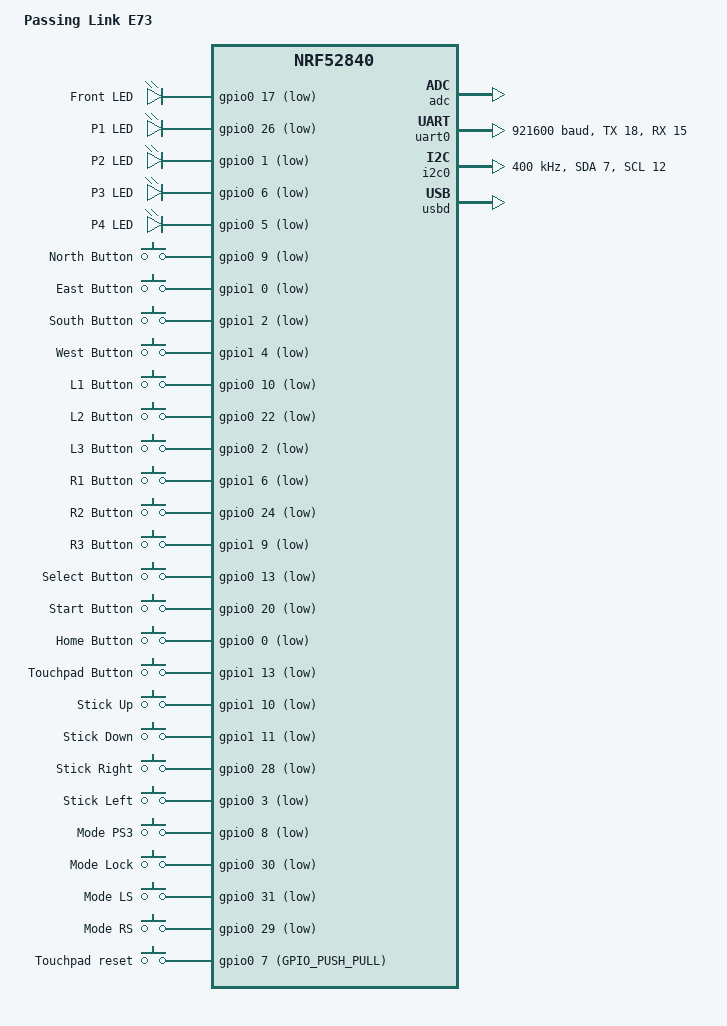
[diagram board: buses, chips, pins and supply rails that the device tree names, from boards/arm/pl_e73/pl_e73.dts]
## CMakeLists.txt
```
# SPDX-License-Identifier: Apache-2.0

get_filename_component(MBEDTLS_CONFIG_ABSOLUTE "mbedtls-config.h" ABSOLUTE)

cmake_minimum_required(VERSION 3.13.1)

set(BOARD_ROOT ${CMAKE_CURRENT_LIST_DIR})

include($ENV{ZEPHYR_BASE}/cmake/app/boilerplate.cmake NO_POLICY_SCOPE)
project(passinglink)

set(CMAKE_CXX_FLAGS "${CMAKE_CXX_FLAGS} -fdiagnostics-color -Wall -Wextra -Wno-unused -fstack-usage")

add_custom_command(
    OUTPUT ${CMAKE_CURRENT_BINARY_DIR}/version.cpp
           ${CMAKE_CURRENT_BINARY_DIR}/_version.cpp
    COMMAND ${CMAKE_COMMAND} -P
            ${CMAKE_CURRENT_SOURCE_DIR}/version.cmake
)

list(APPEND app_sources
    ${CMAKE_CURRENT_BINARY_DIR}/version.cpp

    src/arch.cpp
    src/bootloader.cpp
    src/main.cpp
    src/malloc.cpp
    src/provisioning.cpp
    src/shell.cpp
    src/bt/bt.cpp
    src/input/input.cpp
    src/input/profile.cpp
    src/input/queue.cpp
    src/input/socd.cpp
    src/metrics/metrics.cpp
    src/output/led.cpp
    src/output/output.cpp
    src/output/usb/hid.cpp
    src/output/usb/usb.cpp
    src/output/usb/nx/hid.cpp
    src/output/usb/ps3/hid.cpp
    src/output/usb/ps4/hid.cpp
    src/output/usb/ps4/auth.cpp
    src/opt/gundam.cpp
)

target_sources_ifdef(CONFIG_PASSINGLINK_INPUT_TOUCHPAD_NONE app PRIVATE
    src/input/touchpad/none.cpp
)

target_sources_ifdef(CONFIG_PASSINGLINK_INPUT_TOUCHPAD_PANTHERA app PRIVATE
    src/input/touchpad/panthera.cpp
)

target_sources_ifdef(CONFIG_PASSINGLINK_DISPLAY app PRIVATE
    src/display/display.cpp
    src/display/menu.cpp
)

target_sources_ifdef(CONFIG_PASSINGLINK_DISPLAY_SSD1306 app PRIVATE
    src/display/ssd1306.cpp
)

include_directories(
    src
    keys
)
target_sources(app PRIVATE ${app_sources})
set_property(TARGET app PROPERTY CXX_STANDARD 17)
```

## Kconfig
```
mainmenu "Configuration"

menu "PassingLink Configuration"

config PASSINGLINK_ALLOCATOR
  bool "Use passinglink's custom allocator"
  default y
  default n if NATIVE_APPLICATION
  help
    Use a custom allocator with precisely-sized buckets for PS4 authentication with mbedtls.

config PASSINGLINK_CHECK_MAIN_STACK_HWM
  bool "Check the main stack's high watermark"
  default y
  select INIT_STACKS
  help
    Calculate the main stack's high watermark.

config PASSINGLINK_PROFILING
  bool "Enable time profiling"
  default n
  help
    Profile some important functions.

choice PASSINGLINK_INPUT
  prompt "Input method"
  default PASSINGLINK_INPUT_GPIO

config PASSINGLINK_INPUT_NONE
  bool "None"
  help
    Disable input

config PASSINGLINK_INPUT_GPIO
  bool "GPIO pins"
  help
    Enable input from GPIO pins

config PASSINGLINK_INPUT_EXTERNAL
  bool "External (e.g. shell)"
  help
    Enable input from an external source (e.g. the shell)

endchoice

choice PASSINGLINK_INPUT_TOUCHPAD
  prompt "Trackpad"
  default PASSINGLINK_INPUT_TOUCHPAD_NONE

config PASSINGLINK_INPUT_TOUCHPAD_NONE
  bool "None"
  help
    Disable touchpad input.

config PASSINGLINK_INPUT_TOUCHPAD_PANTHERA
  bool "Razer Panthera"
  select I2C
  help
    Enable Razer Panthera touchpad input.

endchoice

config PASSINGLINK_INPUT_QUEUE
  bool "Input queue"
  default n
  help
    Enable input queue.

config PASSINGLINK_INPUT_SHELL
  bool "Enable input from shell"
  default n
  select SHELL
  select PASSINGLINK_INPUT_QUEUE
  help
    Enable input from UART shell.

menu "Output methods"

config PASSINGLINK_OUTPUT_USB_SWITCH
  bool "Enable Nintendo Switch emulation"
  default y
  help
    Output to Switch over USB

config PASSINGLINK_OUTPUT_USB_SWITCH_PROBE
  bool "Automatically detect Nintendo Switch"
  default y
  depends on PASSINGLINK_OUTPUT_USB_SWITCH
  help
    Automatically detect the Nintendo Switch.
    This adds ~1 second to startup time if we're not connected to a Switch.
    With this disabled, you can still select the Switch manually by holding Square.

config PASSINGLINK_OUTPUT_USB_PS3
  bool "Enable PS3 emulation"
  default y
  help
    Output to PS3 over USB

config PASSINGLINK_OUTPUT_USB_PS3_PROBE
  bool "Automatically detect PS3"
  default y
  depends on PASSINGLINK_OUTPUT_USB_PS3
  help
    Automatically detect the PS3.
    This adds ~1 second to startup time if we're not connected to a PS3.
    With this disabled, you can still select the PS3 manually by holding Triangle.

config PASSINGLINK_OUTPUT_USB_PS4
  bool "Enable PS4 emulation"
  default y
  help
    Output to PS4 over USB

config PASSINGLINK_OUTPUT_USB_PS4_AUTH
  bool "Enable PS4 authentication"
  default y
  help
    Enable PS4 authentication
  depends on MBEDTLS && PASSINGLINK_OUTPUT_USB_PS4

config PASSINGLINK_OUTPUT_USB_FORCE_PROBE_REBOOT
  bool "Force reboot for USB probe"
  default n
  help
    Reboot to probe USB even on boards that support USB deinitialization
  depends on PASSINGLINK_OUTPUT_USB_SWITCH_PROBE || PASINGLINK_OUTPUT_USB_PS3_PROBE

config PASSINGLINK_OUTPUT_USB_DEFERRED
  bool "Defer USB writes for better latency"
  default y

config PASSINGLINK_OUTPUT_USB_DEFERRED_WORK_QUEUE
  bool "Move deferred USB writes to their own work queue for better latency"
  default y
  depends on PASSINGLINK_OUTPUT_DEFERRED
  help
    Move USB HID handling to a separate maximum-priority work queue.

endmenu # Output methods

menu "Display"

config PASSINGLINK_LED
  bool "LED output"
  default y
  help
    Enable LED management

config PASSINGLINK_DISPLAY
  bool "Enable display output"
  default n
  help
    Enable display output

config PASSINGLINK_DISPLAY_SSD1306
  bool "Enable SSD1306 display output"
  default n
  help
    Enable I2C output to an SSD1306 OLED driver
  select I2C
  depends on PASSINGLINK_DISPLAY

endmenu

config PASSINGLINK_RUNTIME_PROVISIONING
  bool "Support provisioning of device keys over USB"
  default y
  depends on FLASH
  depends on FLASH_MAP

menu "Optional components"

config PASSINGLINK_BT
  bool "Bluetooth"
  default n
  select BT
  select BT_PERIPHERAL
  select BT_DEVICE_NAME_DYNAMIC
  help
    Bluetooth support.

config PASSINGLINK_BT_INPUT
  bool "External input over Bluetooth"
  depends on PASSINGLINK_INPUT_EXTERNAL

config PASSINGLINK_BT_AUTHENTICATION
  bool "Use Bluetooth authentication"
  default y
  select BT_SMP
  select BT_FIXED_PASSKEY
  depends on PASSINGLINK_BT

config PASSINGLINK_BT_PAIRING_KEY
  int "Bluetooth pairing key"
  default 123456
  depends on PASSINGLINK_BT_AUTHENTICATION
  help
    Bluetooth pairing key.

config PASSINGLINK_OPT_GUNDAM_CAMERA
  bool "Gundam EXVS spectator camera control"
  default n
  select PASSINGLINK_INPUT_QUEUE
  help
    Macros to control the spectator camera in Gundam.

endmenu # Optional components

endmenu # Passing Link Configuration

menu "Kernel configuration"

source "Kconfig.zephyr"

endmenu # Kernel configuration

# Don't emit logs twice.
config LOG_BACKEND_UART
  default n if SHELL

# Set USB logging to ERR by default.
config USB_DRIVER_LOG_LEVEL
  default 1 if LOG

config USB_DEVICE_LOG_LEVEL
  default 1 if LOG

# Turn on zero latency IRQs to reduce Bluetooth radio IRQ latency.
config ZERO_LATENCY_IRQS
  default y if PASSINGLINK_BT

config BT_CTLR_ZLI
  default y if PASSINGLINK_BT

# Prefer 7.5ms connection interval.
config BT_PERIPHERAL_PREF_MIN_INT
  default 6 if PASSINGLINK_BT

config BT_PERIPHERAL_PREF_MAX_INT
  default 6 if PASSINGLINK_BT
```

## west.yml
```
manifest:
  self:
    path: passinglink
  remotes:
    - name: zephyrproject-rtos
      url-base: https://github.com/zephyrproject-rtos
    - name: passinglink
      url-base: https://github.com/passinglink
  projects:
    - name: zephyr
      remote: passinglink
      revision: pl-v2.5-20210316
      import: true
    - name: mcuboot
      remote: passinglink
      revision: pl-v2.5-20210228
      path: bootloader/mcuboot
    - name: mbedtls
      remote: passinglink
      revision: pl-v2.5-20210226
      path: modules/crypto/mbedtls
    - name: mbed_embed
      remote: passinglink
      revision: pl-v2.5-20210427
      path: tools/mbed_embed
    - name: pcb
      remote: passinglink
      revision: master
      path: pcb
```

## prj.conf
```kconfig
CONFIG_CPLUSPLUS=y

CONFIG_ASSERT=y
CONFIG_SPEED_OPTIMIZATIONS=y
CONFIG_STACK_CANARIES=y

CONFIG_SYSTEM_WORKQUEUE_STACK_SIZE=1088

CONFIG_MAIN_STACK_SIZE=2304
CONFIG_MAIN_THREAD_WORK_QUEUE=y

# Needed for USB probing on STM32.
CONFIG_REBOOT=y

CONFIG_USB=y
CONFIG_USB_DEVICE_STACK=y

CONFIG_USB_DEVICE_VID=0x1209
CONFIG_USB_DEVICE_PID=0x214C
CONFIG_USB_DEVICE_MANUFACTURER="jmgao"
CONFIG_USB_DEVICE_PRODUCT="Passing Link"

CONFIG_USB_SELF_POWERED=n
CONFIG_USB_MAX_POWER=250

CONFIG_USB_COMPOSITE_DEVICE=n
CONFIG_USB_REQUEST_BUFFER_SIZE=256
CONFIG_USB_DEVICE_BOS=n
CONFIG_USB_DEVICE_OS_DESC=n

CONFIG_USB_DEVICE_HID=y
CONFIG_USB_HID_BOOT_PROTOCOL=n
CONFIG_USB_HID_POLL_INTERVAL_MS=1
CONFIG_HID_INTERRUPT_EP_MPS=64
CONFIG_ENABLE_HID_INT_OUT_EP=y

CONFIG_LOG=y

CONFIG_MINIMAL_LIBC_MALLOC=n
CONFIG_MBEDTLS=y
CONFIG_MBEDTLS_CFG_FILE="config-rsassa-pss.h"
```

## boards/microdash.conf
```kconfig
CONFIG_BOOTLOADER_MCUBOOT=y

CONFIG_SHELL=n
CONFIG_LOG=n

CONFIG_PASSINGLINK_INPUT_TOUCHPAD_PANTHERA=n
CONFIG_PASSINGLINK_INPUT_QUEUE=y
CONFIG_PASSINGLINK_INPUT_SHELL=n

CONFIG_PASSINGLINK_BT=n

CONFIG_PASSINGLINK_DISPLAY=y
CONFIG_PASSINGLINK_DISPLAY_SSD1306=y

CONFIG_I2C=y
CONFIG_I2C_NRFX=y
CONFIG_I2C_LOG_LEVEL_OFF=y
```

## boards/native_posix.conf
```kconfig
# native_posix appears to not boot with a custom allocator.
CONFIG_PASSINGLINK_ALLOCATOR=n

# TODO: Figure out a way to wire up input from stdin?
CONFIG_PASSINGLINK_INPUT_NONE=y
```

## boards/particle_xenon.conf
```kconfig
CONFIG_SHELL=y
CONFIG_PASSINGLINK_INPUT_EXTERNAL=y
CONFIG_PASSINGLINK_INPUT_SHELL=y
CONFIG_PASSINGLINK_BT=y
CONFIG_PASSINGLINK_BT_AUTHENTICATION=n
```

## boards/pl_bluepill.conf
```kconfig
CONFIG_ASSERT=n
CONFIG_STACK_CANARIES=n
CONFIG_SIZE_OPTIMIZATIONS=y
CONFIG_TEST_RANDOM_GENERATOR=n
CONFIG_LOG=n

CONFIG_PASSINGLINK_LED=n
CONFIG_PASSINGLINK_OUTPUT_USB_DEFERRED=y
CONFIG_PASSINGLINK_OUTPUT_USB_DEFERRED_WORK_QUEUE=n
CONFIG_PASSINGLINK_OUTPUT_USB_SWITCH=n
CONFIG_PASSINGLINK_OUTPUT_USB_PS3=n
CONFIG_PASSINGLINK_OUTPUT_USB_PS4=y
CONFIG_PASSINGLINK_OUTPUT_USB_PS4_AUTH=y
CONFIG_PASSINGLINK_RUNTIME_PROVISIONING=n
```

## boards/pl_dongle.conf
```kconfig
CONFIG_BOOTLOADER_MCUBOOT=y

CONFIG_SHELL=y

CONFIG_PASSINGLINK_INPUT_EXTERNAL=y
CONFIG_PASSINGLINK_INPUT_QUEUE=y

CONFIG_PASSINGLINK_OUTPUT_USB_SWITCH=y
CONFIG_PASSINGLINK_OUTPUT_USB_PS3=y
CONFIG_PASSINGLINK_OUTPUT_USB_PS4=y
CONFIG_PASSINGLINK_OUTPUT_USB_DEFERRED=y

CONFIG_PASSINGLINK_BT=y
CONFIG_PASSINGLINK_BT_INPUT=y
CONFIG_PASSINGLINK_BT_AUTHENTICATION=n
CONFIG_PASSINGLINK_OPT_GUNDAM_CAMERA=y
CONFIG_BT_CTLR_TX_PWR_PLUS_8=y

CONFIG_PASSINGLINK_DISPLAY=y
CONFIG_PASSINGLINK_DISPLAY_SSD1306=y
CONFIG_I2C=y
CONFIG_I2C_NRFX=y
CONFIG_I2C_LOG_LEVEL_OFF=y
```

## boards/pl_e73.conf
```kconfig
CONFIG_BOOTLOADER_MCUBOOT=y

CONFIG_SHELL=y

CONFIG_PASSINGLINK_INPUT_TOUCHPAD_PANTHERA=y
CONFIG_PASSINGLINK_INPUT_QUEUE=y
CONFIG_PASSINGLINK_INPUT_SHELL=y

CONFIG_PASSINGLINK_BT=y
CONFIG_PASSINGLINK_BT_AUTHENTICATION=n
CONFIG_PASSINGLINK_OPT_GUNDAM_CAMERA=y
CONFIG_BT_CTLR_TX_PWR_PLUS_8=y
```

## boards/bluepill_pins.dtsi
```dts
/ {
  gpio_keys {
    compatible = "gpio-keys";
    button_north {
      gpios = <&gpiob 6 (GPIO_PULL_UP | GPIO_ACTIVE_LOW)>;
      label = "North Button";
    };

    button_east {
      gpios = <&gpiob 5 (GPIO_PULL_UP | GPIO_ACTIVE_LOW)>;
      label = "East Button";
    };

    button_south {
      gpios = <&gpiob 4 (GPIO_PULL_UP | GPIO_ACTIVE_LOW)>;
      label = "South Button";
    };

    button_west {
      gpios = <&gpiob 3 (GPIO_PULL_UP | GPIO_ACTIVE_LOW)>;
      label = "West Button";
    };

    button_l1 {
      gpios = <&gpioa 15 (GPIO_PULL_UP | GPIO_ACTIVE_LOW)>;
      label = "L1 Button";
    };

    button_l2 {
      gpios = <&gpioa 12 (GPIO_PULL_UP | GPIO_ACTIVE_LOW)>;
      label = "L2 Button";
    };

    button_l3 {
      gpios = <&gpioa 11 (GPIO_PULL_UP | GPIO_ACTIVE_LOW)>;
      label = "L3 Button";
    };

    button_r1 {
      gpios = <&gpioa 10 (GPIO_PULL_UP | GPIO_ACTIVE_LOW)>;
      label = "R1 Button";
    };

    button_r2 {
      gpios = <&gpioa 9 (GPIO_PULL_UP | GPIO_ACTIVE_LOW)>;
      label = "R2 Button";
    };

    button_r3 {
      gpios = <&gpioa 8 (GPIO_PULL_UP | GPIO_ACTIVE_LOW)>;
      label = "R3 Button";
    };

    button_select {
      gpios = <&gpiob 15 (GPIO_PULL_UP | GPIO_ACTIVE_LOW)>;
      label = "Select Button";
    };

    button_start {
      gpios = <&gpiob 14 (GPIO_PULL_UP | GPIO_ACTIVE_LOW)>;
      label = "Start Button";
    };

    button_home {
      gpios = <&gpiob 12 (GPIO_PULL_UP | GPIO_ACTIVE_LOW)>;
      label = "Home Button";
    };

    button_touchpad {
      gpios = <&gpiob 13 (GPIO_PULL_UP | GPIO_ACTIVE_LOW)>;
      label = "Touchpad Button";
    };

    stick_up {
      gpios = <&gpiob 0 (GPIO_PULL_UP | GPIO_ACTIVE_LOW)>;
      label = "Stick Up";
    };

    stick_down {
      gpios = <&gpiob 1 (GPIO_PULL_UP | GPIO_ACTIVE_LOW)>;
      label = "Stick Down";
    };

    stick_right {
      gpios = <&gpiob 10 (GPIO_PULL_UP | GPIO_ACTIVE_LOW)>;
      label = "Stick Right";
    };

    stick_left {
      gpios = <&gpiob 11 (GPIO_PULL_UP | GPIO_ACTIVE_LOW)>;
      label = "Stick Left";
    };
  };
};
```

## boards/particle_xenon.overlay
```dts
&uart0 {
  current-speed = <921600>;
};

/ {
  gpio_keys {
    compatible = "gpio-keys";
    button_north {
      gpios = <&gpio0 3 (GPIO_PULL_UP | GPIO_ACTIVE_LOW)>;
      label = "North Button";
    };

    button_east {
      gpios = <&gpio0 4 (GPIO_PULL_UP | GPIO_ACTIVE_LOW)>;
      label = "East Button";
    };

    button_south {
      gpios = <&gpio0 28 (GPIO_PULL_UP | GPIO_ACTIVE_LOW)>;
      label = "South Button";
    };

    button_west {
      gpios = <&gpio0 29 (GPIO_PULL_UP | GPIO_ACTIVE_LOW)>;
      label = "West Button";
    };

    button_l1 {
      gpios = <&gpio0 30 (GPIO_PULL_UP | GPIO_ACTIVE_LOW)>;
      label = "L1 Button";
    };

    button_l2 {
      gpios = <&gpio0 31 (GPIO_PULL_UP | GPIO_ACTIVE_LOW)>;
      label = "L2 Button";
    };

    button_l3 {
      gpios = <&gpio0 15 (GPIO_PULL_UP | GPIO_ACTIVE_LOW)>;
      label = "L3 Button";
    };

    button_r1 {
      gpios = <&gpio0 13 (GPIO_PULL_UP | GPIO_ACTIVE_LOW)>;
      label = "R1 Button";
    };

    button_r2 {
      gpios = <&gpio0 14 (GPIO_PULL_UP | GPIO_ACTIVE_LOW)>;
      label = "R2 Button";
    };

    button_r3 {
      gpios = <&gpio1 3 (GPIO_PULL_UP | GPIO_ACTIVE_LOW)>;
      label = "R3 Button";
    };

    button_select {
      gpios = <&gpio1 12 (GPIO_PULL_UP | GPIO_ACTIVE_LOW)>;
      label = "Select Button";
    };

    button_start {
      gpios = <&gpio1 11 (GPIO_PULL_UP | GPIO_ACTIVE_LOW)>;
      label = "Start Button";
    };

    button_home {
      gpios = <&gpio1 10 (GPIO_PULL_UP | GPIO_ACTIVE_LOW)>;
      label = "Home Button";
    };

    button_touchpad {
      gpios = <&gpio1 8 (GPIO_PULL_UP | GPIO_ACTIVE_LOW)>;
      label = "Touchpad Button";
    };

    stick_up {
      gpios = <&gpio1 2 (GPIO_PULL_UP | GPIO_ACTIVE_LOW)>;
      label = "Stick Up";
    };

    stick_down {
      gpios = <&gpio1 1 (GPIO_PULL_UP | GPIO_ACTIVE_LOW)>;
      label = "Stick Down";
    };

    stick_right {
      gpios = <&gpio1 27 (GPIO_PULL_UP | GPIO_ACTIVE_LOW)>;
      label = "Stick Right";
    };

    stick_left {
      gpios = <&gpio1 26 (GPIO_PULL_UP | GPIO_ACTIVE_LOW)>;
      label = "Stick Left";
    };
  };
};

#include "../overlay/boards/pl_nrf_partitions.dtsi"
```

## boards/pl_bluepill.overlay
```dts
/ {
  chosen {
    zephyr,code-partition = &code_partition;
  };
};

&flash0 {
  partitions {
    compatible = "fixed-partitions";
    #address-cells = <1>;
    #size-cells = <1>;

    code_partition: partition@0 {
      label = "code";
      reg = <0x0 0xf000>;
    };

    provisioning_partition: partition@f000 {
      label = "provisioning";
      reg = <0xf000 0x1000>;
    };
  };
};

#include "bluepill_pins.dtsi"
```

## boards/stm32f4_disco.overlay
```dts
/ {
  chosen {
    zephyr,boot-partition = &boot_partition;
    zephyr,code-partition = &code_partition;
  };
};

&flash0 {
  partitions {
    compatible = "fixed-partitions";
    #address-cells = <1>;
    #size-cells = <1>;

    // STM32F407 has pages of different sizes:
    //   4 - 16kB
    //   1 - 64kB
    //   7 - 128kB
    boot_partition: partition@0 {
      label = "mcuboot";
      reg = <0x0 0xc000>;
    };

    provisioning_partition: partition@c000 {
      label = "provisioning";
      reg = <0xc000 0x4000>;
      read-only;
    };

    storage_partition: partition@10000 {
      label = "storage";
      reg = <0x10000 0x10000>;
    };

    code_partition: partition@20000 {
      label = "image-0";
      reg = <0x20000 0xe0000>;
    };
  };
};

&usart2 {
  current-speed = <921600>;
};

/ {
  aliases {
    button-home = &user_button;
  };

  gpio_keys {
    compatible = "gpio-keys";

    user_button: button {
      gpios = <&gpioa 0 GPIO_ACTIVE_HIGH>;
      label = "Key";
    };

    button_north {
      gpios = <&gpioe 7 (GPIO_PULL_UP | GPIO_ACTIVE_LOW)>;
      label = "North Button";
    };

    button_east {
      gpios = <&gpioe 10 (GPIO_PULL_UP | GPIO_ACTIVE_LOW)>;
      label = "East Button";
    };

    button_south {
      gpios = <&gpioe 8 (GPIO_PULL_UP | GPIO_ACTIVE_LOW)>;
      label = "South Button";
    };

    button_west {
      gpios = <&gpioe 9 (GPIO_PULL_UP | GPIO_ACTIVE_LOW)>;
      label = "West Button";
    };

    button_l1 {
      gpios = <&gpioe 11 (GPIO_PULL_UP | GPIO_ACTIVE_LOW)>;
      label = "L1 Button";
    };

    button_l2 {
      gpios = <&gpioe 13 (GPIO_PULL_UP | GPIO_ACTIVE_LOW)>;
      label = "L2 Button";
    };

    button_l3 {
      gpios = <&gpiod 6 (GPIO_PULL_UP | GPIO_ACTIVE_LOW)>;
      label = "L3 Button";
    };

    button_r1 {
      gpios = <&gpioe 12 (GPIO_PULL_UP | GPIO_ACTIVE_LOW)>;
      label = "R1 Button";
    };

    button_r2 {
      gpios = <&gpioe 14 (GPIO_PULL_UP | GPIO_ACTIVE_LOW)>;
      label = "R2 Button";
    };

    button_r3 {
      gpios = <&gpiod 7 (GPIO_PULL_UP | GPIO_ACTIVE_LOW)>;
      label = "R3 Button";
    };

    button_select {
      gpios = <&gpiod 2 (GPIO_PULL_UP | GPIO_ACTIVE_LOW)>;
      label = "Select Button";
    };

    button_start {
      gpios = <&gpiod 3 (GPIO_PULL_UP | GPIO_ACTIVE_LOW)>;
      label = "Start Button";
    };

    /* See aliases.button_home */
    /*
    button_home {
      gpios = <&gpioa 0 (GPIO_ACTIVE_LOW)>;
      label = "Home Button";
    };
    */

    button_touchpad {
      gpios = <&gpioe 15 (GPIO_PULL_UP | GPIO_ACTIVE_LOW)>;
      label = "Touchpad Button";
    };

    stick_up {
      gpios = <&gpiod 8 (GPIO_PULL_UP | GPIO_ACTIVE_LOW)>;
      label = "Stick Up";
    };

    stick_down {
      gpios = <&gpiod 11 (GPIO_PULL_UP | GPIO_ACTIVE_LOW)>;
      label = "Stick Down";
    };

    stick_right {
      gpios = <&gpiod 10 (GPIO_PULL_UP | GPIO_ACTIVE_LOW)>;
      label = "Stick Right";
    };

    stick_left {
      gpios = <&gpiod 9 (GPIO_PULL_UP | GPIO_ACTIVE_LOW)>;
      label = "Stick Left";
    };

    mode_ps3 {
      gpios = <&gpioe 2 (GPIO_PULL_UP | GPIO_ACTIVE_LOW)>;
      label = "Mode PS3";
    };

    mode_lock {
      gpios = <&gpioe 6 (GPIO_PULL_UP | GPIO_ACTIVE_LOW)>;
      label = "Mode Lock";
    };

    mode_ls {
      gpios = <&gpioe 4 (GPIO_PULL_UP | GPIO_ACTIVE_LOW)>;
      label = "Mode LS";
    };

    mode_rs {
      gpios = <&gpioe 5 (GPIO_PULL_UP | GPIO_ACTIVE_LOW)>;
      label = "Mode RS";
    };
  };
};
```

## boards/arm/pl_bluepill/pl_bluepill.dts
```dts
/dts-v1/;
#include <st/f1/stm32f103X8.dtsi>

/ {
  model = "PassingLink BluePill";
  compatible = "st,stm32f103c8";

  chosen {
    zephyr,console = &usart2;
    zephyr,shell-uart = &usart2;
    zephyr,sram = &sram0;
    zephyr,flash = &flash0;
  };

  leds {
    compatible = "gpio-leds";
    status: led_1 {
      gpios = <&gpioc 13 0>;
      label = "Blue LED";
    };
  };

  gpio_keys {
    compatible = "gpio-keys";
    button_north {
      gpios = <&gpioc 6 (GPIO_PULL_UP | GPIO_ACTIVE_LOW)>;
      label = "North Button";
    };

    button_east {
      gpios = <&gpiob 13 (GPIO_PULL_UP | GPIO_ACTIVE_LOW)>;
      label = "East Button";
    };

    button_south {
      gpios = <&gpiob 14 (GPIO_PULL_UP | GPIO_ACTIVE_LOW)>;
      label = "South Button";
    };

    button_west {
      gpios = <&gpiob 15 (GPIO_PULL_UP | GPIO_ACTIVE_LOW)>;
      label = "West Button";
    };

    button_l1 {
      gpios = <&gpioc 8 (GPIO_PULL_UP | GPIO_ACTIVE_LOW)>;
      label = "L1 Button";
    };

    button_l2 {
      gpios = <&gpiob 11 (GPIO_PULL_UP | GPIO_ACTIVE_LOW)>;
      label = "L2 Button";
    };

    button_l3 {
      gpios = <&gpioc 12 (GPIO_PULL_UP | GPIO_ACTIVE_LOW)>;
      label = "L3 Button";
    };

    button_r1 {
      gpios = <&gpioc 7 (GPIO_PULL_UP | GPIO_ACTIVE_LOW)>;
      label = "R1 Button";
    };

    button_r2 {
      gpios = <&gpiob 12 (GPIO_PULL_UP | GPIO_ACTIVE_LOW)>;
      label = "R2 Button";
    };

    button_r3 {
      gpios = <&gpiod 2 (GPIO_PULL_UP | GPIO_ACTIVE_LOW)>;
      label = "R3 Button";
    };

    button_select {
      gpios = <&gpiob 10 (GPIO_PULL_UP | GPIO_ACTIVE_LOW)>;
      label = "Select Button";
    };

    button_start {
      gpios = <&gpioc 4 (GPIO_PULL_UP | GPIO_ACTIVE_LOW)>;
      label = "Start Button";
    };

    button_home {
      gpios = <&gpioc 15 (GPIO_PULL_UP | GPIO_ACTIVE_LOW)>;
      label = "Home Button";
    };

    button_touchpad {
      gpios = <&gpiob 5 (GPIO_PULL_UP | GPIO_ACTIVE_LOW)>;
      label = "Touchpad Button";
    };

    stick_up {
      gpios = <&gpioa 9 (GPIO_PULL_UP | GPIO_ACTIVE_LOW)>;
      label = "Stick Up";
    };

    stick_down {
      gpios = <&gpioa 10 (GPIO_PULL_UP | GPIO_ACTIVE_LOW)>;
      label = "Stick Down";
    };

    stick_right {
      gpios = <&gpioc 9 (GPIO_PULL_UP | GPIO_ACTIVE_LOW)>;
      label = "Stick Right";
    };

    stick_left {
      gpios = <&gpioa 8 (GPIO_PULL_UP | GPIO_ACTIVE_LOW)>;
      label = "Stick Left";
    };
  };
};

&usart2 {
  current-speed = <921600>;
  status = "okay";
};

&usb {
  status = "okay";
};
```

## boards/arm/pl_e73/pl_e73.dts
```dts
/dts-v1/;
#include <nordic/nrf52840_qiaa.dtsi>

/ {
  model = "Passing Link E73";
  compatible = "nordic,nrf52840-qiaa", "nordic,nrf52840";

  aliases {
    tp-i2c = &i2c0;
  };

  chosen {
    zephyr,console = &uart0;
    zephyr,shell-uart = &uart0;
    zephyr,sram = &sram0;
    zephyr,flash = &flash0;
		zephyr,code-partition = &slot0_partition;
  };

  leds {
    compatible = "gpio-leds";
    led_front: led_0 {
      gpios = <&gpio0 17 GPIO_ACTIVE_LOW>;
      label = "Front LED";
    };
    led_p1: led_1 {
      gpios = <&gpio0 26 GPIO_ACTIVE_LOW>;
      label = "P1 LED";
    };
    led_p2: led_2 {
      gpios = <&gpio0 1 GPIO_ACTIVE_LOW>;
      label = "P2 LED";
    };
    led_p3: led_3 {
      gpios = <&gpio0 6 GPIO_ACTIVE_LOW>;
      label = "P3 LED";
    };
    led_p4: led_4 {
      gpios = <&gpio0 5 GPIO_ACTIVE_LOW>;
      label = "P4 LED";
    };
  };

  gpio_keys {
    compatible = "gpio-keys";

    button_north {
      gpios = <&gpio0 9 (GPIO_PULL_UP | GPIO_ACTIVE_LOW)>;
      label = "North Button";
    };

    button_east {
      gpios = <&gpio1 0 (GPIO_PULL_UP | GPIO_ACTIVE_LOW)>;
      label = "East Button";
    };

    button_south {
      gpios = <&gpio1 2 (GPIO_PULL_UP | GPIO_ACTIVE_LOW)>;
      label = "South Button";
    };

    button_west {
      gpios = <&gpio1 4 (GPIO_PULL_UP | GPIO_ACTIVE_LOW)>;
      label = "West Button";
    };

    button_l1 {
      gpios = <&gpio0 10 (GPIO_PULL_UP | GPIO_ACTIVE_LOW)>;
      label = "L1 Button";
    };

    button_l2 {
      gpios = <&gpio0 22 (GPIO_PULL_UP | GPIO_ACTIVE_LOW)>;
      label = "L2 Button";
    };

    button_l3 {
      gpios = <&gpio0 2 (GPIO_PULL_UP | GPIO_ACTIVE_LOW)>;
      label = "L3 Button";
    };

    button_r1 {
      gpios = <&gpio1 6 (GPIO_PULL_UP | GPIO_ACTIVE_LOW)>;
      label = "R1 Button";
    };

    button_r2 {
      gpios = <&gpio0 24 (GPIO_PULL_UP | GPIO_ACTIVE_LOW)>;
      label = "R2 Button";
    };

    button_r3 {
      gpios = <&gpio1 9 (GPIO_PULL_UP | GPIO_ACTIVE_LOW)>;
      label = "R3 Button";
    };

    button_select {
      gpios = <&gpio0 13 (GPIO_PULL_UP | GPIO_ACTIVE_LOW)>;
      label = "Select Button";
    };

    button_start {
      gpios = <&gpio0 20 (GPIO_PULL_UP | GPIO_ACTIVE_LOW)>;
      label = "Start Button";
    };

    button_home {
      gpios = <&gpio0 0 (GPIO_PULL_UP | GPIO_ACTIVE_LOW)>;
      label = "Home Button";
    };

    button_touchpad {
      gpios = <&gpio1 13 (GPIO_PULL_UP | GPIO_ACTIVE_LOW)>;
      label = "Touchpad Button";
    };

    stick_up {
      gpios = <&gpio1 10 (GPIO_PULL_UP | GPIO_ACTIVE_LOW)>;
      label = "Stick Up";
    };

    stick_down {
      gpios = <&gpio1 11 (GPIO_PULL_UP | GPIO_ACTIVE_LOW)>;
      label = "Stick Down";
    };

    stick_right {
      gpios = <&gpio0 28 (GPIO_PULL_UP | GPIO_ACTIVE_LOW)>;
      label = "Stick Right";
    };

    stick_left {
      gpios = <&gpio0 3 (GPIO_PULL_UP | GPIO_ACTIVE_LOW)>;
      label = "Stick Left";
    };

    mode_ps3 {
      gpios = <&gpio0 8 (GPIO_PULL_UP | GPIO_ACTIVE_LOW)>;
      label = "Mode PS3";
    };

    mode_lock {
      gpios = <&gpio0 30 (GPIO_PULL_UP | GPIO_ACTIVE_LOW)>;
      label = "Mode Lock";
    };

    mode_ls {
      gpios = <&gpio0 31 (GPIO_PULL_UP | GPIO_ACTIVE_LOW)>;
      label = "Mode LS";
    };

    mode_rs {
      gpios = <&gpio0 29 (GPIO_PULL_UP | GPIO_ACTIVE_LOW)>;
      label = "Mode RS";
    };

    tp_rst {
      gpios = <&gpio0 7 (GPIO_PUSH_PULL)>;
      label = "Touchpad reset";
    };
  };
};

&adc {
  status = "okay";
};

&gpiote {
  status = "okay";
};

&gpio0 {
  status = "okay";
};

&gpio1 {
  status = "okay";
};

&uart0 {
  compatible = "nordic,nrf-uarte";
  current-speed = <921600>;
  status = "okay";
  tx-pin = <18>;
  rx-pin = <15>;
};

&i2c0 {
	compatible = "nordic,nrf-twim";
	status = "okay";
	clock-frequency = <I2C_BITRATE_FAST>;
	sda-pin = <7>;
	scl-pin = <12>;
};

&flash0 {
  /*
   * For more information, see:
   * http://docs.zephyrproject.org/latest/guides/dts/index.html#flash-partitions
   */
  partitions {
    compatible = "fixed-partitions";
    #address-cells = <1>;
    #size-cells = <1>;

    boot_partition: partition@0 {
      label = "mcuboot";
      reg = <0x000000000 0x0000C000>;
    };
    slot0_partition: partition@c000 {
      label = "image-0";
      reg = <0x0000C000 0x000067000>;
    };
    slot1_partition: partition@73000 {
      label = "image-1";
      reg = <0x00073000 0x000067000>;
    };
    scratch_partition: partition@da000 {
      label = "image-scratch";
      reg = <0x000da000 0x0001e000>;
    };

    /*
     * The flash starting at 0x000f8000 and ending at
     * 0x000fffff is reserved for use by the application.
     */

    /*
     * Storage partition will be used by FCB/LittleFS/NVS
     * if enabled.
     */
    storage_partition: partition@f8000 {
      label = "storage";
      reg = <0x000f8000 0x00008000>;
    };
  };
};

&usbd {
  compatible = "nordic,nrf-usbd";
  status = "okay";
};
```

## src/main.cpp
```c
#include <zephyr.h>

#include <init.h>
#include <logging/log.h>

#include "arch.h"

#if defined(STM32F1) || defined(STM32F3) || defined(STM32F4)
#include <drivers/gpio.h>
#endif

#include "bt/bt.h"
#include "display/display.h"
#include "input/input.h"
#include "output/output.h"
#include "provisioning.h"
#include "version.h"

#define LOG_LEVEL LOG_LEVEL_DBG
LOG_MODULE_REGISTER(main);

const char* init_error;
int init_rc;

#if defined(STM32F1) || defined(STM32F3)
static int stm32_usb_reset(const struct device*) {
  // BluePill board has a pull-up resistor on the D+ line.
  // Pull the D+ pin down to send a RESET condition to the USB bus.
  const struct device* gpioa = device_get_binding("GPIOA");

  if (!gpioa) {
    init_error = "failed to get device binding for GPIOA";
    return 0;
  }
  init_rc = gpio_pin_configure(gpioa, 12, GPIO_OUTPUT);
  if (init_rc != 0) {
    init_error = "failed to configure PA12 as output";
    return 0;
  }

  init_rc = gpio_pin_set(gpioa, 12, 0);
  if (init_rc != 0) {
    init_error = "failed to write to GPIO pin";
    return 0;
  }

  spin(k_ms_to_cyc_ceil32(20));

  init_rc = gpio_pin_configure(gpioa, 12, GPIO_INPUT);
  if (init_rc != 0) {
    init_error = "failed to configure PA12 as input";
    return 0;
  }

  spin(k_ms_to_cyc_ceil32(20));

  return 0;
}

#define USB_RESET_PRIORITY 41
SYS_INIT(stm32_usb_reset, POST_KERNEL, USB_RESET_PRIORITY);
static_assert(CONFIG_KERNEL_INIT_PRIORITY_DEFAULT < USB_RESET_PRIORITY);
static_assert(USB_RESET_PRIORITY < CONFIG_PINMUX_STM32_DEVICE_INITIALIZATION_PRIORITY);

#endif

// zephyrproject-rtos/zephyr#21094:
// main is renamed to zephyr_app_main via macro and must not be mangled,
// or it'll be silently ignored.
extern "C" void main(void) {
  auto kver = sys_kernel_version_get();

  LOG_INF("passinglink %s (kernel version %d.%d.%d) initializing", version_string(),
          SYS_KERNEL_VER_MAJOR(kver), SYS_KERNEL_VER_MINOR(kver), SYS_KERNEL_VER_PATCHLEVEL(kver));

  if (init_error) {
    LOG_ERR("%s: rc = %d", init_error, init_rc);
  }

#if defined(NRF52840)
  // Enable the trace unit so we can get a cycle count.
  CoreDebug->DEMCR |= CoreDebug_DEMCR_TRCENA_Msk;
  DWT->CTRL |= DWT_CTRL_CYCCNTENA_Msk;
#endif

#if defined(CONFIG_PASSINGLINK_DISPLAY)
  display_init();
#endif

  provisioning_init();
  input_init();
  output_init();

#if defined(CONFIG_PASSINGLINK_BT)
  bluetooth_init();
#endif

  k_thread_priority_set(k_current_get(), CONFIG_NUM_PREEMPT_PRIORITIES - 1);
}
```

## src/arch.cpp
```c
#include "arch.h"

#include <kernel.h>

#include <logging/log_ctrl.h>
#include <power/reboot.h>

#if defined(__arm__)
void spin(uint32_t cycles) {
  asm volatile(
    "loop:\n"
    "subs %0, #7\n"
    "bpl loop\n"
    :  // No outputs.
    : "r"(cycles));
}
#endif

static void reboot_impl(k_work*) {
#if defined(CONFIG_LOG)
  while (log_buffered_cnt()) {
    k_sleep(K_MSEC(5));
  }

  // We've fed all of our log messages to the backend, but it still might take
  // some time for that to be flushed out over the wire. Sleep for a bit more
  // to give that some time to happen.
  k_sleep(K_MSEC(5));
#endif

  sys_reboot(SYS_REBOOT_WARM);
}
K_WORK_DEFINE(reboot_work, reboot_impl);

void reboot() {
  // We might be called from an ISR, schedule a reboot to happen.
  k_work_submit(&reboot_work);
}
```

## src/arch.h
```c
#pragma once

#include <kernel.h>
#include <sys/types.h>

#if defined(STM32F103xB) || defined(STM32F103xE)
#define STM32 1
#define STM32F1 1
#endif

#if defined(STM32F303xC)
#define STM32 1
#define STM32F3 1
#endif

#if defined(STM32F407xx)
#define STM32 1
// Seems that cube already defines STM32F4. Omitted here.
#endif

#if defined(NRF52840_XXAA)
#define NRF52840 1
#endif

#if defined(NRF52840)
#pragma GCC diagnostic push
#pragma GCC diagnostic ignored "-Wunused-function"
static uint32_t get_cycle_count() {
  return DWT->CYCCNT;
}

static uint32_t get_cpu_freq() {
  return 64'000'000;
}
#else
static uint32_t get_cycle_count() {
  return k_cycle_get_32();
}

static uint32_t get_cpu_freq() {
  return sys_clock_hw_cycles_per_sec();
}
#pragma GCC diagnostic pop
#endif

#if defined(__arm__)
void spin(uint32_t cycles);
#endif

void reboot();
```

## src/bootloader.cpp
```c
#include "bootloader.h"

#include <zephyr.h>

#include <devicetree.h>
#include <power/reboot.h>
#include <shell/shell.h>

#if DT_HAS_CHOSEN(mcuboot_sram_warmboot)
bool mcuboot_available() {
  return true;
}

void mcuboot_enter() {
  static_assert(DT_REG_SIZE(DT_CHOSEN(mcuboot_sram_warmboot)) == 8);
  uint64_t* addr = reinterpret_cast<uint64_t*>(DT_REG_ADDR(DT_CHOSEN(mcuboot_sram_warmboot)));
  *addr = 0x1209214c1209214c;
  sys_reboot(SYS_REBOOT_WARM);
}

static int cmd_dfu_enter(const struct shell*, size_t, char**) {
  mcuboot_enter();
  return 0;
}

SHELL_CMD_ARG_REGISTER(dfu, NULL, "Reboot to dfu mode", cmd_dfu_enter, 0, 0);
#endif
```

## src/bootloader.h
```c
#pragma once

#include <devicetree.h>

// Rebooting into DFU mode requires a separate sram device to communicate with mcuboot.
// Grep for 'mcuboot,sram_warmboot' for dts file examples.
#if DT_HAS_CHOSEN(mcuboot_sram_warmboot)

void mcuboot_enter();

#endif
```

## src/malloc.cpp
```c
#if defined(CONFIG_PASSINGLINK_ALLOCATOR)
#include <zephyr.h>

#include <logging/log.h>
#include <types.h>

#include <string.h>

#include "types.h"

#define LOG_LEVEL LOG_LEVEL_INF
LOG_MODULE_REGISTER(malloc);

#define ALLOC_HWM 0

extern "C" void dump_allocator_hwm();

template <size_t Bits>
struct Bitset {
  static constexpr size_t Bytes = (Bits + 7) / 8;

  bool get(size_t idx) {
    size_t byte_idx = idx / 8;
    size_t bit_idx = idx % 8;
    uint8_t byte = data_[byte_idx];
    return byte & (1 << bit_idx);
  }

  void set(size_t idx, bool value) {
    size_t byte_idx = idx / 8;
    size_t bit_idx = idx % 8;
    uint8_t byte = data_[byte_idx];
    if (value) {
      byte |= 1 << bit_idx;
    } else {
      byte &= ~(1 << bit_idx);
    }
    data_[byte_idx] = byte;
  }

  optional<size_t> find_first_unset() {
    for (size_t i = 0; i < Bits; ++i) {
      if (!get(i)) {
        return i;
      }
    }
    return {};
  }

  uint8_t data_[Bytes] = {};
};

template <size_t Size, size_t Count>
struct Bucket {
  struct Block {
    alignas(int) char bytes[Size];
  };

  void* alloc(size_t size) {
    optional<size_t> available = used_.find_first_unset();
    if (!available) {
      LOG_ERR("Bucket<%zu>::alloc(%zu) unavailable", Size, size);
      errno = ENOMEM;
      return nullptr;
    }

    size_t idx = *available;
    used_.set(idx, true);
    LOG_DBG("Bucket<%zu>::alloc(%zu) = %p", Size, size, blocks_[idx].bytes);
    update_hwm(1);
    return blocks_[idx].bytes;
  }

  void free(void* ptr) {
    size_t idx = static_cast<Block*>(ptr) - blocks_;
    used_.set(idx, false);
    update_hwm(-1);
  }

#if ALLOC_HWM
  void update_hwm(int sign) {
    current += sign;
    if (current > hwm) {
      hwm = current;
    }
  }

  void dump_hwm() { LOG_WRN("Bucket<%zu> hwm = %zu", Size, hwm); }
#else
  void update_hwm(int sign) {}
  void dump_hwm() {}
#endif

  Block blocks_[Count];
  Bitset<Count> used_;

#if ALLOC_HWM
  size_t current;
  size_t hwm;
#endif
};

#define BUCKETS() \
  BUCKET(264, 35) \
  BUCKET(528, 1)

struct Allocator {
#define BUCKET(block_size, count) Bucket<block_size, count> bucket_##block_size;
  BUCKETS()
#undef BUCKET

  void* malloc(size_t size) {
    // clang-format off
#define BUCKET(block_size, count)               \
    if (size <= block_size) {                   \
      return (bucket_##block_size).alloc(size); \
    }
    BUCKETS()
#undef BUCKET
    // clang-format on

    errno = ENOMEM;
    return nullptr;
  }

  void free(void* ptr) {
    // clang-format off
#define BUCKET(block_size, count)              \
    {                                          \
      auto* bucket = &bucket_##block_size;     \
      auto* bucket_end = bucket + 1;           \
      if (ptr >= bucket && ptr < bucket_end) { \
        return bucket->free(ptr);              \
      }                                        \
    }
    BUCKETS()
#undef BUCKET
    // clang-format on

    return;
  }

  void dump_hwm() {
#define BUCKET(block_size, count) bucket_##block_size.dump_hwm();
    BUCKETS()
#undef BUCKETS
  }
};

static Allocator allocator;

extern "C" void* malloc(size_t size) {
  return allocator.malloc(size);
}

extern "C" void free(void* ptr) {
  allocator.free(ptr);
}

extern "C" void dump_allocator_hwm() {
  allocator.dump_hwm();
}

#else

extern "C" void dump_allocator_hwm() {}

#endif  // defined(CONFIG_PASSINGLINK_ALLOCATOR)
```

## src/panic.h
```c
#pragma once

#define PANIC(...)       \
  ({                     \
    printk(__VA_ARGS__); \
    k_panic();           \
  })
```

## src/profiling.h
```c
#pragma once

#ifndef LOG_LEVEL
#error LOG_LEVEL must be defined before including profiling.h.
#endif

#include "arch.h"

#if defined(CONFIG_PASSINGLINK_PROFILING)
template <int Frequency = 1>
struct Profiler {
  void begin() { begin_cycle_ = get_cycle_count(); }

  void end(const char* name) {
    if (times_count_ != Frequency) {
      uint32_t end_cycle = get_cycle_count();
      uint32_t diff = end_cycle - begin_cycle_;
      times_[times_count_++] = diff;
    } else {
      times_count_ = 0;
      u64_t total = 0;
      uint32_t min = UINT32_MAX;
      uint32_t max = 0;
      for (auto time : times_) {
        total += time;
        if (time < min) {
          min = time;
        }
        if (time > max) {
          max = time;
        }
      }

      uint32_t average = total / (Frequency - 1);
      LOG_INF("%s: avg = %u, min = %u, max = %u", name, average, min, max);
    }
  }

  uint32_t times_[Frequency - 1];
  size_t times_count_;

  uint32_t begin_cycle_;
};

template <int Frequency>
struct ScopedProfile {
  explicit ScopedProfile(Profiler<Frequency>& profiler, const char* name)
      : profiler_(profiler), name_(name) {
    profiler_.begin();
  }

  ~ScopedProfile() { profiler_.end(name_); }

  Profiler<Frequency>& profiler_;
  const char* name_;
};
#else
template <int Frequency>
struct Profiler {};

template <int Frequency>
struct ScopedProfile {
  explicit ScopedProfile(Profiler<Frequency>& profiler, const char* name) {}
};
#endif

#define PROFILE(name, frequency)         \
  static Profiler<frequency> __profiler; \
  ScopedProfile<frequency> __scoped_profiler(__profiler, (name))
```

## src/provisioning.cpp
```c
#include "provisioning.h"

#include <zephyr.h>

#include <storage/flash_map.h>

#include <logging/log.h>
#define LOG_LEVEL LOG_LEVEL_DBG
LOG_MODULE_REGISTER(provisioning);

static const ProvisioningData* pd;

void provisioning_init() {
#if !FLASH_AREA_LABEL_EXISTS(provisioning)
  LOG_WRN("no provisioning partition defined");
#else
  size_t offset = FLASH_AREA_OFFSET(provisioning);
  size_t size = FLASH_AREA_SIZE(provisioning);
  LOG_INF("provisioning partition defined at 0x%08zx (len = 0x%08zx)", offset, size);

  ProvisioningData* p = reinterpret_cast<ProvisioningData*>(offset);
  if (p->version != ProvisioningVersion::V1) {
    LOG_WRN("invalid magic number for provisioning partition: 0x%08x)",
            static_cast<uint32_t>(p->version));
    return;
  }

  if (strnlen(p->board_name, sizeof(p->board_name)) >= sizeof(p->board_name)) {
    LOG_ERR("non-terminated board name in provisioning partition");
    return;
  }

  LOG_INF("provisioning partition found: board = %s", log_strdup(p->board_name));
  pd = p;
#endif
}

const ProvisioningData* provisioning_data_get() {
  return pd;
}
```

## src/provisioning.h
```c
#pragma once

#include "provisioning_types.h"
#include "types.h"

void provisioning_init();
const ProvisioningData* provisioning_data_get();

bool provisioning_write(const void* data, size_t length, size_t offset);
bool provisioning_flush();
```

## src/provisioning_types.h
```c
#pragma once

#include <stdint.h>

// Provisioning information is stored in a separate partition on flash.
enum class ProvisioningVersion : uint32_t {
  V1 = 0x1209214c,
};

struct PS4Key {
  unsigned char serial[16];
  unsigned char signature[256];
  struct mbedtls_rsa_context* rsa_context;
};

struct __attribute__((packed)) ProvisioningData {
  ProvisioningVersion version;
  char board_name[128];
  PS4Key* ps4_key;
};
```

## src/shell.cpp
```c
#include <zephyr.h>

#include <shell/shell.h>

#include "input/input.h"
#include "input/queue.h"

#if defined(CONFIG_PASSINGLINK_INPUT_SHELL)

static const char* shorten(const char* name) {
  if (strncmp(name, "button_", strlen("button_")) == 0) return name + strlen("button_");
  if (strncmp(name, "stick_", strlen("stick_")) == 0) return name + strlen("stick_");
  return nullptr;
}

static bool parse_button(RawInputState* state, const char* arg) {
  bool value = true;
  if (arg[0] == '+') {
    ++arg;
  } else if (arg[0] == '-') {
    value = false;
    ++arg;
  }

#define PL_GPIO(_, name, available)                                \
  {                                                                \
    const char* short_name = shorten(#name);                       \
    if (strcmp(arg, #name) == 0 || strcmp(arg, short_name) == 0) { \
      state->name = value;                                         \
      return true;                                                 \
    }                                                              \
  }

  PL_GPIOS()

#undef PL_GPIO

  return false;
}

#if defined(CONFIG_PASSINGLINK_INPUT_EXTERNAL)
static int cmd_input_clear(const struct shell* shell, size_t argc, char** argv) {
  shell_print(shell, "input: cleared");
  return 0;
}

static int cmd_input_modify(const struct shell* shell, size_t argc, char** argv) {
  RawInputState state = {};
  input_get_raw_state(&state);

  if (argc <= 1) {
    shell_print(shell, "usage: input modify [[+|-][button_|stick_]INPUT_NAME]...");
    return 0;
  }

  for (size_t i = 1; i < argc; ++i) {
    if (!parse_button(&state, argv[i])) {
      shell_print(shell, "failed to parse argument '%s'", argv[i]);
      return 0;
    }
  }

  input_set_raw_state(&state);
  shell_print(shell, "input: modified");
  return 0;
}
#endif

static int cmd_input_home(const struct shell* shell, size_t argc, char** argv) {
  InputQueue* head = input_queue_alloc();
  if (!head) {
    shell_print(shell, "failed to allocate!");
    return 0;
  }

  head->state = {};
  head->state.button_home = 1;
  head->delay = K_USEC(33'333);

  InputQueue* next = input_queue_append(head);
  if (!next) {
    shell_print(shell, "failed to allocate!");
    input_queue_free(head);
    return 0;
  }

  next->state = {};
  next->delay = K_USEC(33'333);

  input_queue_set_active(head, true);
  return 0;
}

#pragma GCC diagnostic push
#pragma GCC diagnostic ignored "-Wmissing-field-initializers"
// clang-format off
SHELL_STATIC_SUBCMD_SET_CREATE(sub_input,
#if defined(CONFIG_PASSINGLINK_INPUT_EXTERNAL)
  SHELL_CMD(clear, NULL, "Clear inputs.", cmd_input_clear),
  SHELL_CMD(modify, NULL, "Modify inputs.", cmd_input_modify),
#endif
  SHELL_CMD(home, NULL, "Press home.", cmd_input_home),
  SHELL_SUBCMD_SET_END
);

// clang-format on
#pragma GCC diagnostic pop

SHELL_CMD_REGISTER(input, &sub_input, "Input commands", 0);
#endif
```

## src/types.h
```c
#pragma once

#include <assert.h>
#include <stddef.h>
#include <string.h>

#include <sys/atomic.h>

#include <zephyr.h>

#include "panic.h"

// Placement new overload that normally comes from <new>.
inline void* operator new(size_t size, void* ptr) {
  return ptr;
}

struct ScopedIRQLock {
  ScopedIRQLock() { irq_lock_ = irq_lock(); }
  ~ScopedIRQLock() { irq_unlock(irq_lock_); }

  ScopedIRQLock(const ScopedIRQLock& copy) = delete;
  ScopedIRQLock(ScopedIRQLock&& move) = delete;

  uint64_t irq_lock_;
};

template <typename T>
struct atomic_u32 {
  static_assert(alignof(T) <= alignof(atomic_t));
  static_assert(sizeof(T) == 4);
  static_assert(__is_trivially_copyable(T));
  static_assert(__has_trivial_destructor(T));

  atomic_u32() : value_(0) {}
  explicit atomic_u32(T t) : value_(to_int(t)) {}

  T load() { return from_int(atomic_get(&value_)); }
  void store(T value) { atomic_set(&value_, to_int(value)); }

  bool cas(T expected, T new_value) {
    // TODO: Is this weak or strong?
    return atomic_cas(&value_, to_int(expected), to_int(new_value));
  }

 private:
  static uint32_t to_int(T x) {
    uint32_t result;
    memcpy(&result, &x, sizeof(T));
    return result;
  }

  static T from_int(uint32_t x) {
    T result;
    memcpy(&result, &x, sizeof(T));
    return result;
  }

  atomic_t value_ = 0;
};

template <typename T>
struct __attribute__((packed)) optional {
  optional() {}

  optional(const optional& copy) {
    if (copy.get()) {
      reset(*copy);
    }
  }

  optional(optional&& move) {
    if (move.get()) {
      reset(static_cast<T&&>(*move));
    }
    move.reset();
  }

  optional(T t) { reset(static_cast<T&&>(t)); }
  ~optional() { reset(); }

  optional& operator=(const optional& copy) {
    if (copy) {
      reset(*copy);
    } else {
      reset();
    }
    return *this;
  }

  operator bool() const { return valid_; }
  bool valid() const { return valid_; }

  T* get() {
    if (!valid()) return nullptr;
    return ptr();
  }

  const T* get() const {
    if (!valid()) return nullptr;
    return ptr();
  }

  T get_or(T other) {
    if (valid()) {
      return *ptr();
    } else {
      return other;
    }
  }

  T* operator->() { return get(); }
  const T* operator->() const { return get(); }

  T& operator*() { return *get(); }
  const T& operator*() const { return *get(); }

  void reset() {
    if (valid_) {
      get()->~T();
      valid_ = false;
    }
  }

  void reset(T value) {
    reset();
    new (obj_) T { static_cast<T&&>(value) };
    valid_ = true;
  }

 private:
  T* ptr() { return reinterpret_cast<T*>(&obj_); }
  const T* ptr() const { return reinterpret_cast<const T*>(&obj_); }

  alignas(T) char obj_[sizeof(T)] = {};
  bool valid_ = false;
};

template <typename T, size_t N>
struct array {
  T contents[N];

  constexpr size_t size() const { return N; }

  T* data() { return contents; }
  const T* data() const { return contents; }

  T& operator*() { return *contents; }
  const T& operator*() const { return *contents; }

  T& operator->() { return *contents; }
  const T& operator->() const { return *contents; }

  T& operator[](size_t idx) { return contents[idx]; }
  const T& operator[](size_t idx) const { return contents[idx]; }
};

template <typename T, size_t Capacity>
struct stack {
  size_t size() const { return size_; }

  T& front() {
    if (size_ == 0) {
      PANIC("front called on empty stack");
    }
    return data_[size_ - 1];
  }

  T& push(T t) {
    if (size_ == Capacity) {
      PANIC("stack overflow");
    }
    return *new (&data_[size_++]) T(static_cast<T&&>(t));
  }

  void pop() {
    if (size_ == 0) {
      PANIC("stack underflow");
    }
    data_[--size_].~T();
  }

  bool empty() const { return size_ == 0; }

  void clear() {
    while (!empty()) {
      pop();
    }
  }

  size_t size_ = 0;
  array<T, Capacity> data_;
};

template <typename T>
struct span {
  span() : span(nullptr, 0) {}
  span(T* ptr, size_t length) : ptr_(ptr), length_(length) {}
  span(const span& copy) = default;
  span(span&& move) = default;

  span& operator=(const span& copy) = default;
  span& operator=(span&& move) = default;

  template <size_t Length>
  span(T (&array)[Length]) : span(&array[0], Length) {}

  template <size_t Length>
  /* implicit */ span(array<T, Length>& arr) : span(arr.data(), Length) {}

  template <size_t Length>
  span(array<T, Length>& arr, size_t length) : span(arr.data(), length) {}

  T& operator[](size_t offset) { return data()[offset]; }
  T* data() { return ptr_; }
  const T* data() const { return ptr_; }
  size_t size() const { return length_; }

  bool empty() const { return size() == 0; }

  T* begin() { return ptr_; }
  T* end() { return ptr_ + length_; }

  span& remove_prefix(size_t n) {
    assert(length_ >= n);
    ptr_ += n;
    length_ -= n;
    return *this;
  }

  span& remove_suffix(size_t n) {
    assert(length_ >= n);
    length_ -= n;
    return *this;
  }

 private:
  T* ptr_;
  size_t length_;
};

template <size_t Length>
struct Bitmap {
  struct BitmapProxy {
    BitmapProxy(uint8_t* p, uint8_t offset) {
      p_ = p;
      offset_ = offset;
    }

    operator bool() { return *p_ & 1 << offset_; }

    BitmapProxy& operator=(bool rhs) {
      if (rhs) {
        *p_ |= 1 << offset_;
      } else {
        *p_ &= ~(1 << offset_);
      }
      return *this;
    }

   private:
    uint8_t* p_;
    uint8_t offset_;
  };

  size_t size() { return Length; }
  BitmapProxy operator[](size_t i) { return BitmapProxy(&data_[i / 8], i % 8); }

 private:
  uint8_t data_[Length / 8];
};

template <typename T>
void swap(T& a, T& b) {
  auto tmp = a;
  a = b;
  b = tmp;
}

template <typename T>
T min(T a, T b) {
  if (a < b) {
    return a;
  }
  return b;
}

template <typename T>
T max(T a, T b) {
  if (a > b) {
    return a;
  }
  return b;
}

template <typename Iterator, typename Comparator>
Iterator min(Iterator begin, Iterator end, Comparator cmp) {
  Iterator min = begin;
  for (auto it = begin; it != end; ++it) {
    if (cmp(*min, *it)) {
      min = it;
    }
  }

  return min;
}

template <typename Iterator, typename Comparator>
void insertion_sort(Iterator begin, Iterator end, Comparator cmp) {
  while (begin != end) {
    Iterator min_it = min(begin, end, cmp);
    if (min_it == begin) {
      ++begin;
      continue;
    }

    swap(*min_it, *begin++);
  }
}

#define SAMPLING_LOG(freq, ...) \
  ({                            \
    static int counter = 0;     \
    if (++counter == (freq)) {  \
      counter = 0;              \
      LOG_INF(__VA_ARGS__);     \
    }                           \
  })
```
